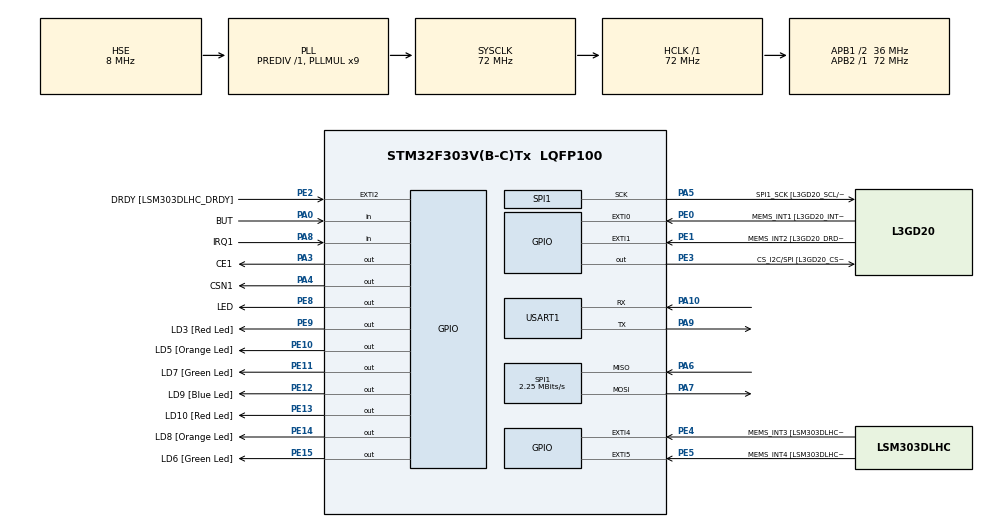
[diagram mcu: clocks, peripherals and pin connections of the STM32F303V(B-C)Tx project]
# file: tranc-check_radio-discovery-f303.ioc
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Mcu.Family=STM32F3
Mcu.Name=STM32F303V(B-C)Tx
Mcu.Package=LQFP100
NVIC.PriorityGroup=NVIC_PRIORITYGROUP_0
PA0.GPIO_Label=BUT
PA0.GPIO_PuPd=GPIO_NOPULL
PA0.Signal=GPIO_Input
PA10.Mode=Asynchronous
PA10.Signal=USART1_RX
PA13.GPIO_Label=SWDIO
PA13.Mode=Serial_Wire
PA13.Signal=SYS_JTMS-SWDIO
PA14.GPIO_Label=SWCLK
PA14.Mode=Serial_Wire
PA14.Signal=SYS_JTCK-SWCLK
PA3.GPIO_Label=CE1
PA3.Signal=GPIO_Output
PA4.GPIO_Label=CSN1
PA4.Signal=GPIO_Output
PA5.GPIO_Label=SPI1_SCK [L3GD20_SCL/SPC]
PA5.Mode=Full_Duplex_Master
PA5.Signal=SPI1_SCK
PA6.Mode=Full_Duplex_Master
PA6.Signal=SPI1_MISO
PA7.Mode=Full_Duplex_Master
PA7.Signal=SPI1_MOSI
PA8.GPIO_Label=IRQ1
PA8.Signal=GPIO_Input
PA9.Mode=Asynchronous
PA9.Signal=USART1_TX
PB3.GPIO_Label=SWO
PB3.Signal=SYS_JTDO-TRACESWO
PC14-OSC32_IN.GPIO_Label=OSC32_IN
PC14-OSC32_IN.Signal=RCC_OSC32_IN
PC15-OSC32_OUT.GPIO_Label=OSC32_OUT
PC15-OSC32_OUT.Signal=RCC_OSC32_OUT
PE0.GPIO_Label=MEMS_INT1 [L3GD20_INT1]
PE0.GPIO_ModeDefaultEXTI=GPIO_MODE_EVT_RISING
PE0.Signal=GPXTI0
PE1.GPIO_Label=MEMS_INT2 [L3GD20_DRDY/INT2]
PE1.GPIO_ModeDefaultEXTI=GPIO_MODE_EVT_RISING
PE1.Signal=GPXTI1
PE10.GPIO_Label=LD5 [Orange Led]
PE10.Signal=GPIO_Output
PE11.GPIO_Label=LD7 [Green Led]
PE11.Signal=GPIO_Output
PE12.GPIO_Label=LD9 [Blue Led]
PE12.Signal=GPIO_Output
PE13.GPIO_Label=LD10 [Red Led]
PE13.Signal=GPIO_Output
PE14.GPIO_Label=LD8 [Orange Led]
PE14.Signal=GPIO_Output
PE15.GPIO_Label=LD6 [Green Led]
PE15.Signal=GPIO_Output
PE2.GPIO_Label=DRDY [LSM303DLHC_DRDY]
PE2.GPIO_ModeDefaultEXTI=GPIO_MODE_EVT_RISING
PE2.Signal=GPXTI2
PE3.GPIO_Label=CS_I2C/SPI [L3GD20_CS_I2C/SPI]
PE3.Signal=GPIO_Output
PE4.GPIO_Label=MEMS_INT3 [LSM303DLHC_INT1]
PE4.GPIO_ModeDefaultEXTI=GPIO_MODE_EVT_RISING
PE4.Signal=GPXTI4
PE5.GPIO_Label=MEMS_INT4 [LSM303DLHC_INT2]
PE5.GPIO_ModeDefaultEXTI=GPIO_MODE_EVT_RISING
PE5.Signal=GPXTI5
PE8.GPIO_Label=LED
PE8.Signal=GPIO_Output
PE9.GPIO_Label=LD3 [Red Led]
PE9.Signal=GPIO_Output
PF0-OSC_IN.GPIO_Label=OSC_IN
PF0-OSC_IN.Mode=HSE-External-Clock-Source
PF0-OSC_IN.Signal=RCC_OSC_IN
PF1-OSC_OUT.GPIO_Label=OSC_OUT
PF1-OSC_OUT.Signal=RCC_OSC_OUT
ProjectManager.HeapSize=0x200
ProjectManager.StackSize=0x400
ProjectManager.TargetToolchain=MDK-ARM V5
RCC.AHBFreq_Value=72000000
RCC.APB1CLKDivider=RCC_HCLK_DIV2
RCC.APB1Freq_Value=36000000
RCC.APB1TimFreq_Value=72000000
RCC.APB2Freq_Value=72000000
RCC.APB2TimFreq_Value=72000000
RCC.CortexFreq_Value=72000000
RCC.HCLKFreq_Value=72000000
RCC.HSE_VALUE=8000000
RCC.HSI_VALUE=8000000
RCC.LSE_VALUE=32768
RCC.PLLMUL=RCC_PLL_MUL9
RCC.PLLSourceVirtual=RCC_PLLSOURCE_HSE
RCC.PRESCALERUSB=RCC_USBCLKSOURCE_PLL_DIV1_5
RCC.SYSCLKFreq_VALUE=72000000
RCC.SYSCLKSourceVirtual=RCC_SYSCLKSOURCE_PLLCLK
RCC.USBFreq_Value=48000000
SPI1.BaudRatePrescaler=SPI_BAUDRATEPRESCALER_32
SPI1.CalculateBaudRate=2.25 MBits/s
SPI1.DataSize=SPI_DATASIZE_8BIT
SPI1.Direction=SPI_DIRECTION_2LINES
SPI1.Mode=SPI_MODE_MASTER
SPI1.VirtualType=VM_MASTER
USART1.VirtualMode-Asynchronous=VM_ASYNC
board=STM32F3DISCOVERY

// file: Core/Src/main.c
/* USER CODE BEGIN Header */
/**
  ******************************************************************************
  * @file           : main.c
  * @brief          : Main program body
  ******************************************************************************
  * @attention
  *
  * <h2><center>&copy; Copyright (c) 2022 STMicroelectronics.
  * All rights reserved.</center></h2>
  *
  * This software component is licensed by ST under BSD 3-Clause license,
  * the "License"; You may not use this file except in compliance with the
  * License. You may obtain a copy of the License at:
  *                        opensource.org/licenses/BSD-3-Clause
  *
  ******************************************************************************
  */
/* USER CODE END Header */
#include "main.h"

/* USER CODE BEGIN Includes */
#include "NRF24.h"

#include <string.h>
/* USER CODE END Includes */

SPI_HandleTypeDef hspi1;

UART_HandleTypeDef huart1;

/* USER CODE BEGIN PV */
char str1[20]={0};

uint8_t buf1[1]={0};
uint8_t buf2[1]={0};
uint8_t dt_reg=0;
/* USER CODE END PV */

void SystemClock_Config(void);
static void MX_GPIO_Init(void);
static void MX_SPI1_Init(void);
static void MX_USART1_UART_Init(void);

int main(void)
{
  /* USER CODE BEGIN 1 */
	uint8_t retr_cnt, dt;
	uint8_t on=0x6F, off=0x85;
  /* USER CODE END 1 */

  /* MCU Configuration--------------------------------------------------------*/

  /* Reset of all peripherals, Initializes the Flash interface and the Systick. */
  HAL_Init();

  /* Configure the system clock */
  SystemClock_Config();

  /* Initialize all configured peripherals */
  MX_GPIO_Init();
  MX_SPI1_Init();
  MX_USART1_UART_Init();
  /* USER CODE BEGIN 2 */
	NRF24_ini();
	HAL_Delay(200);
  /* USER CODE END 2 */

  /* Infinite loop */
  while (1)
  {

    /* USER CODE BEGIN 3 */
				HAL_Delay(30);

		//if(retr_cnt_full>999) retr_cnt_full=999;
		//memcpy(buf1+1,(uint8_t*)&i,2);
		//memcpy(buf1+2,(uint8_t*)&i,2);

//		LED_OFF;
//		memcpy(buf1, &on,1);
//    NRF24L01_Send(buf1);
//		HAL_Delay(1000);
//		LED_ON;
//		memcpy(buf1, &off,1);
//    NRF24L01_Send(buf1);

		if (BUT)
		{
			memcpy(buf1, &on,1);
			NRF24L01_Send(buf1);
				LED_OFF;
		}
		else if (!BUT)
		{
			memcpy(buf1, &off,1);
			NRF24L01_Send(buf1);
		LED_ON;

		}
		//NRF24L01_Receive();
		//retr_cnt = dt & 0xF;
		//i++;
		//retr_cnt_full += retr_cnt;
//		dt_reg = NRF24_ReadReg(CONFIG);

//		sprintf(str1,"CONFIG: 0x%02X\r\n",dt_reg);

//		HAL_UART_Transmit(&huart1,(uint8_t*)str1,strlen(str1),0x1000);

//		dt_reg = NRF24_ReadReg(EN_AA);

//		sprintf(str1,"EN_AA: 0x%02X\r\n",dt_reg);

//		HAL_UART_Transmit(&huart1,(uint8_t*)str1,strlen(str1),0x1000);

//		dt_reg = NRF24_ReadReg(EN_RXADDR);

 //		sprintf(str1,"EN_RXADDR: 0x%02X\r\n",dt_reg);

//		HAL_UART_Transmit(&huart1,(uint8_t*)str1,strlen(str1),0x1000);

//		dt_reg = NRF24_ReadReg(STATUS);

//		sprintf(str1,"STATUS: 0x%02X\r\n",dt_reg);

//		HAL_UART_Transmit(&huart1,(uint8_t*)str1,strlen(str1),0x1000);

//		dt_reg = NRF24_ReadReg(RF_SETUP);
//		sprintf(str1,"RF_SETUP: 0x%02X\r\n",dt_reg);

//		HAL_UART_Transmit(&huart1,(uint8_t*)str1,strlen(str1),0x1000);

//		NRF24_Read_Buf(TX_ADDR,buf1,3);

//		sprintf(str1,"TX_ADDR: 0x%02X, 0x%02X, 0x%02X\r\n",buf1[0],buf1[1],buf1[2]);

//		HAL_UART_Transmit(&huart1,(uint8_t*)str1,strlen(str1),0x1000);

//		NRF24_Read_Buf(RX_ADDR_P0,buf1,3);

//		sprintf(str1,"RX_ADDR: 0x%02X, 0x%02X, 0x%02X\r\n",buf1[0],buf1[1],buf1[2]);

//		HAL_UART_Transmit(&huart1,(uint8_t*)str1,strlen(str1),0x1000);
  }
  /* USER CODE END 3 */
}

void SystemClock_Config(void)
{
  RCC_OscInitTypeDef RCC_OscInitStruct = {0};
  RCC_ClkInitTypeDef RCC_ClkInitStruct = {0};
  RCC_PeriphCLKInitTypeDef PeriphClkInit = {0};

  /** Initializes the RCC Oscillators according to the specified parameters
  * in the RCC_OscInitTypeDef structure.
  */
  RCC_OscInitStruct.OscillatorType = RCC_OSCILLATORTYPE_HSE;
  RCC_OscInitStruct.HSEState = RCC_HSE_BYPASS;
  RCC_OscInitStruct.HSEPredivValue = RCC_HSE_PREDIV_DIV1;
  RCC_OscInitStruct.HSIState = RCC_HSI_ON;
  RCC_OscInitStruct.PLL.PLLState = RCC_PLL_ON;
  RCC_OscInitStruct.PLL.PLLSource = RCC_PLLSOURCE_HSE;
  RCC_OscInitStruct.PLL.PLLMUL = RCC_PLL_MUL9;
  if (HAL_RCC_OscConfig(&RCC_OscInitStruct) != HAL_OK)
  {
    Error_Handler();
  }
  /** Initializes the CPU, AHB and APB buses clocks
  */
  RCC_ClkInitStruct.ClockType = RCC_CLOCKTYPE_HCLK|RCC_CLOCKTYPE_SYSCLK
                              |RCC_CLOCKTYPE_PCLK1|RCC_CLOCKTYPE_PCLK2;
  RCC_ClkInitStruct.SYSCLKSource = RCC_SYSCLKSOURCE_PLLCLK;
  RCC_ClkInitStruct.AHBCLKDivider = RCC_SYSCLK_DIV1;
  RCC_ClkInitStruct.APB1CLKDivider = RCC_HCLK_DIV2;
  RCC_ClkInitStruct.APB2CLKDivider = RCC_HCLK_DIV1;

  if (HAL_RCC_ClockConfig(&RCC_ClkInitStruct, FLASH_LATENCY_2) != HAL_OK)
  {
    Error_Handler();
  }
  PeriphClkInit.PeriphClockSelection = RCC_PERIPHCLK_USART1;
  PeriphClkInit.Usart1ClockSelection = RCC_USART1CLKSOURCE_PCLK2;
  if (HAL_RCCEx_PeriphCLKConfig(&PeriphClkInit) != HAL_OK)
  {
    Error_Handler();
  }
}

static void MX_SPI1_Init(void)
{

  /* SPI1 parameter configuration*/
  hspi1.Instance = SPI1;
  hspi1.Init.Mode = SPI_MODE_MASTER;
  hspi1.Init.Direction = SPI_DIRECTION_2LINES;
  hspi1.Init.DataSize = SPI_DATASIZE_8BIT;
  hspi1.Init.CLKPolarity = SPI_POLARITY_LOW;
  hspi1.Init.CLKPhase = SPI_PHASE_1EDGE;
  hspi1.Init.NSS = SPI_NSS_SOFT;
  hspi1.Init.BaudRatePrescaler = SPI_BAUDRATEPRESCALER_32;
  hspi1.Init.FirstBit = SPI_FIRSTBIT_MSB;
  hspi1.Init.TIMode = SPI_TIMODE_DISABLE;
  hspi1.Init.CRCCalculation = SPI_CRCCALCULATION_DISABLE;
  hspi1.Init.CRCPolynomial = 7;
  hspi1.Init.CRCLength = SPI_CRC_LENGTH_DATASIZE;
  hspi1.Init.NSSPMode = SPI_NSS_PULSE_ENABLE;
  if (HAL_SPI_Init(&hspi1) != HAL_OK)
  {
    Error_Handler();
  }

}

static void MX_USART1_UART_Init(void)
{

  huart1.Instance = USART1;
  huart1.Init.BaudRate = 38400;
  huart1.Init.WordLength = UART_WORDLENGTH_8B;
  huart1.Init.StopBits = UART_STOPBITS_1;
  huart1.Init.Parity = UART_PARITY_NONE;
  huart1.Init.Mode = UART_MODE_TX_RX;
  huart1.Init.HwFlowCtl = UART_HWCONTROL_NONE;
  huart1.Init.OverSampling = UART_OVERSAMPLING_16;
  huart1.Init.OneBitSampling = UART_ONE_BIT_SAMPLE_DISABLE;
  huart1.AdvancedInit.AdvFeatureInit = UART_ADVFEATURE_NO_INIT;
  if (HAL_UART_Init(&huart1) != HAL_OK)
  {
    Error_Handler();
  }

}

static void MX_GPIO_Init(void)
{
  GPIO_InitTypeDef GPIO_InitStruct = {0};

  /* GPIO Ports Clock Enable */
  __HAL_RCC_GPIOE_CLK_ENABLE();
  __HAL_RCC_GPIOC_CLK_ENABLE();
  __HAL_RCC_GPIOF_CLK_ENABLE();
  __HAL_RCC_GPIOA_CLK_ENABLE();
  __HAL_RCC_GPIOB_CLK_ENABLE();

  /*Configure GPIO pin Output Level */
  HAL_GPIO_WritePin(GPIOE, CS_I2C_SPI_Pin|LED_Pin|LD3_Pin|LD5_Pin
                          |LD7_Pin|LD9_Pin|LD10_Pin|LD8_Pin
                          |LD6_Pin, GPIO_PIN_RESET);

  /*Configure GPIO pin Output Level */
  HAL_GPIO_WritePin(GPIOA, CE1_Pin|CSN1_Pin, GPIO_PIN_RESET);

  /*Configure GPIO pins : DRDY_Pin MEMS_INT3_Pin MEMS_INT4_Pin MEMS_INT1_Pin
                           MEMS_INT2_Pin */
  GPIO_InitStruct.Pin = DRDY_Pin|MEMS_INT3_Pin|MEMS_INT4_Pin|MEMS_INT1_Pin
                          |MEMS_INT2_Pin;
  GPIO_InitStruct.Mode = GPIO_MODE_EVT_RISING;
  GPIO_InitStruct.Pull = GPIO_NOPULL;
  HAL_GPIO_Init(GPIOE, &GPIO_InitStruct);

  /*Configure GPIO pins : CS_I2C_SPI_Pin LED_Pin LD3_Pin LD5_Pin
                           LD7_Pin LD9_Pin LD10_Pin LD8_Pin
                           LD6_Pin */
  GPIO_InitStruct.Pin = CS_I2C_SPI_Pin|LED_Pin|LD3_Pin|LD5_Pin
                          |LD7_Pin|LD9_Pin|LD10_Pin|LD8_Pin
                          |LD6_Pin;
  GPIO_InitStruct.Mode = GPIO_MODE_OUTPUT_PP;
  GPIO_InitStruct.Pull = GPIO_NOPULL;
  GPIO_InitStruct.Speed = GPIO_SPEED_FREQ_LOW;
  HAL_GPIO_Init(GPIOE, &GPIO_InitStruct);

  /*Configure GPIO pins : BUT_Pin IRQ1_Pin */
  GPIO_InitStruct.Pin = BUT_Pin|IRQ1_Pin;
  GPIO_InitStruct.Mode = GPIO_MODE_INPUT;
  GPIO_InitStruct.Pull = GPIO_NOPULL;
  HAL_GPIO_Init(GPIOA, &GPIO_InitStruct);

  /*Configure GPIO pins : CE1_Pin CSN1_Pin */
  GPIO_InitStruct.Pin = CE1_Pin|CSN1_Pin;
  GPIO_InitStruct.Mode = GPIO_MODE_OUTPUT_PP;
  GPIO_InitStruct.Pull = GPIO_NOPULL;
  GPIO_InitStruct.Speed = GPIO_SPEED_FREQ_LOW;
  HAL_GPIO_Init(GPIOA, &GPIO_InitStruct);

}

void Error_Handler(void)
{
  __disable_irq();
  while (1)
  {
  }
}

/************************ (C) COPYRIGHT STMicroelectronics *****END OF FILE****/
